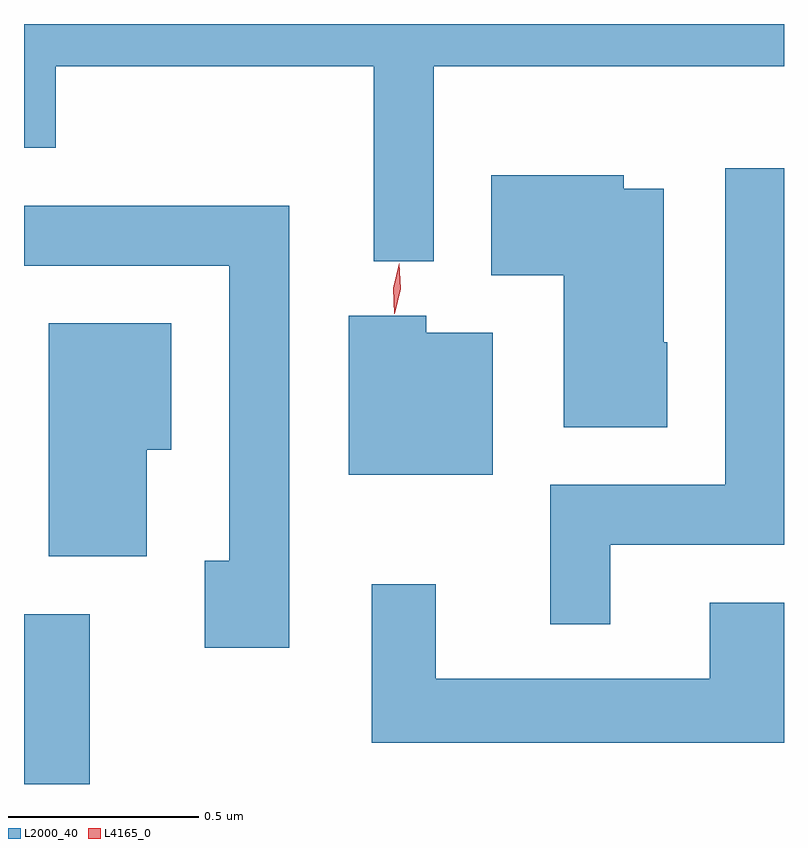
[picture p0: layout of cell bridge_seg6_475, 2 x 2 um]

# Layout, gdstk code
import gdstk
lib = gdstk.Library(unit=1e-6, precision=1e-09)
def R(c, l, rs):  # rectangles x0, y0, x1, y1
    for r in rs: c.add(gdstk.rectangle(r[:2], r[2:], *l))
def P(c, l, *ps):  # polygons
    for p in ps: c.add(gdstk.Polygon(p, *l))
L2000_40 = (2000, 40)
L4165_0 = (4165, 0)

bridge_seg6_475 = lib.new_cell('bridge_seg6_475')
R(bridge_seg6_475, L2000_40, [(670.276,1652.487,670.449,1652.934)])
P(bridge_seg6_475, L2000_40, [(671.354,1654.376),(672.276,1654.376),(672.276,1654.487),(670.276,1654.487),(670.276,1654.161),(670.359,1654.161),(670.359,1654.376),(671.196,1654.376),(671.196,1653.863),(671.354,1653.863)],
  [(671.819,1653.116),(672.276,1653.116),(672.276,1654.108),(672.121,1654.108),(672.121,1653.274),(671.661,1653.274),(671.661,1652.908),(671.819,1652.908)],
  [(671.969,1653.65),(671.959,1653.65),(671.959,1654.054),(671.854,1654.054),(671.854,1654.089),(671.506,1654.089),(671.506,1653.826),(671.696,1653.826),(671.696,1653.426),(671.969,1653.426)],
  [(670.974,1654.009),(670.276,1654.009),(670.276,1653.851),(670.816,1653.851),(670.816,1653.074),(670.751,1653.074),(670.751,1652.846),(670.974,1652.846)],
  [(671.509,1653.674),(671.334,1653.674),(671.334,1653.719),(671.131,1653.719),(671.131,1653.301),(671.509,1653.301)],
  [(670.599,1653.366),(670.664,1653.366),(670.664,1653.699),(670.341,1653.699),(670.341,1653.086),(670.599,1653.086)],
  [(672.276,1652.964),(672.081,1652.964),(672.081,1652.764),(671.359,1652.764),(671.359,1653.013),(671.191,1653.013),(671.191,1652.596),(672.276,1652.596)])
P(bridge_seg6_475, L4165_0, [(671.25,1653.725),(671.248,1653.792),(671.264,1653.857),(671.264,1653.858),(671.264,1653.857),(671.268,1653.79),(671.251,1653.725),(671.251,1653.725)])

lib.write_gds('bridge_seg6_475.gds')
